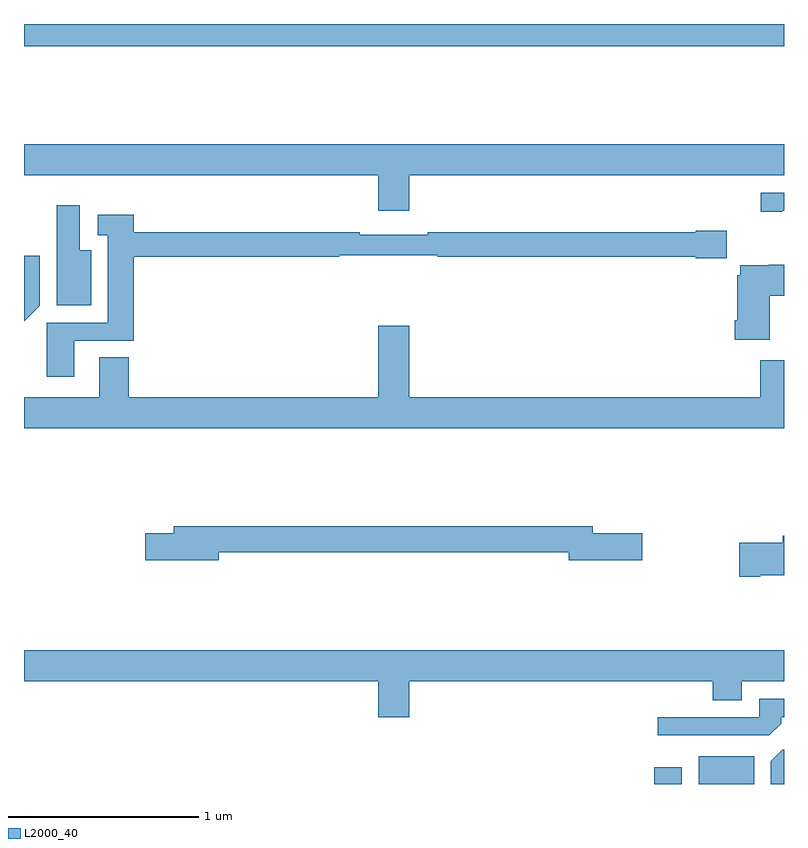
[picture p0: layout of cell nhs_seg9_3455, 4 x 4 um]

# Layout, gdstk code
import gdstk
lib = gdstk.Library(unit=1e-6, precision=1e-09)
def R(c, l, rs):  # rectangles x0, y0, x1, y1
    for r in rs: c.add(gdstk.rectangle(r[:2], r[2:], *l))
def P(c, l, *ps):  # polygons
    for p in ps: c.add(gdstk.Polygon(p, *l))
L2000_40 = (2000, 40)

nhs_seg9_3455 = lib.new_cell('nhs_seg9_3455')
R(nhs_seg9_3455, L2000_40, [(310.316,1242.5,310.462,1242.589), (310.55,1242.5,310.843,1242.646), (307,1246.384,311,1246.5)])
P(nhs_seg9_3455, L2000_40, [(309.028,1245.704),(311,1245.704),(311,1245.868),(307,1245.868),(307,1245.704),(308.864,1245.704),(308.864,1245.516),(309.028,1245.516)],
  [(310.99,1245.516),(311,1245.516),(311,1245.612),(310.878,1245.612),(310.878,1245.511),(310.99,1245.511)],
  [(307.354,1245.31),(307.294,1245.31),(307.294,1245.547),(307.172,1245.547),(307.172,1245.02),(307.354,1245.02)],
  [(307.264,1244.832),(307.577,1244.832),(307.577,1245.274),(308.66,1245.274),(308.66,1245.282),(309.177,1245.282),(309.177,1245.274),(310.536,1245.274),(310.536,1245.268),(310.699,1245.268),(310.699,1245.411),(310.536,1245.411),(310.536,1245.403),(309.124,1245.403),(309.124,1245.39),(308.768,1245.39),(308.768,1245.403),(307.577,1245.403),(307.577,1245.497),(307.389,1245.497),(307.389,1245.387),(307.442,1245.387),(307.442,1244.928),(307.121,1244.928),(307.121,1244.643),(307.264,1244.643)],
  [(307.083,1245.018),(307.083,1245.28),(307,1245.28),(307,1244.935)],
  [(310.924,1245.07),(311,1245.07),(311,1245.232),(310.92,1245.232),(310.92,1245.23),(310.77,1245.23),(310.77,1245.177),(310.754,1245.177),(310.754,1244.941),(310.742,1244.941),(310.742,1244.837),(310.924,1244.837)],
  [(311,1244.731),(310.874,1244.731),(310.874,1244.536),(309.028,1244.536),(309.028,1244.911),(308.864,1244.911),(308.864,1244.536),(307.55,1244.536),(307.55,1244.747),(307.397,1244.747),(307.397,1244.536),(307,1244.536),(307,1244.372),(311,1244.372)],
  [(308.026,1243.72),(309.866,1243.72),(309.866,1243.678),(310.255,1243.678),(310.255,1243.82),(309.994,1243.82),(309.994,1243.856),(307.787,1243.856),(307.787,1243.82),(307.638,1243.82),(307.638,1243.678),(308.026,1243.678)],
  [(310.876,1243.598),(311,1243.598),(311,1243.807),(310.994,1243.807),(310.994,1243.769),(310.764,1243.769),(310.764,1243.591),(310.876,1243.591)],
  [(309.028,1243.04),(310.625,1243.04),(310.625,1242.941),(310.777,1242.941),(310.777,1243.04),(311,1243.04),(311,1243.204),(307,1243.204),(307,1243.04),(308.864,1243.04),(308.864,1242.852),(309.028,1242.852)],
  [(310.985,1242.818),(310.985,1242.852),(311,1242.852),(311,1242.948),(310.869,1242.948),(310.869,1242.852),(310.335,1242.852),(310.335,1242.756),(310.923,1242.756)],
  [(311,1242.681),(310.991,1242.681),(310.931,1242.621),(310.931,1242.5),(311,1242.5)])

lib.write_gds('nhs_seg9_3455.gds')
